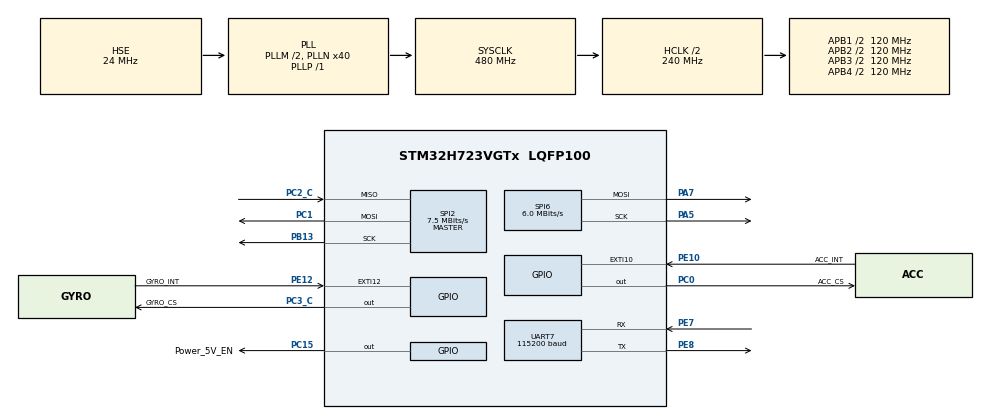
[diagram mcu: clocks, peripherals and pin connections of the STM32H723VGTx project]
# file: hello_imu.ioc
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CORTEX_M7.default_mode_Activation=1
Dma.Request0=SPI2_RX
Dma.Request1=SPI2_TX
Dma.SPI2_RX.0.Direction=DMA_PERIPH_TO_MEMORY
Dma.SPI2_RX.0.EventEnable=DISABLE
Dma.SPI2_RX.0.FIFOMode=DMA_FIFOMODE_DISABLE
Dma.SPI2_RX.0.Instance=DMA1_Stream0
Dma.SPI2_RX.0.MemDataAlignment=DMA_MDATAALIGN_BYTE
Dma.SPI2_RX.0.MemInc=DMA_MINC_ENABLE
Dma.SPI2_RX.0.Mode=DMA_NORMAL
Dma.SPI2_RX.0.PeriphDataAlignment=DMA_PDATAALIGN_BYTE
Dma.SPI2_RX.0.PeriphInc=DMA_PINC_DISABLE
Dma.SPI2_RX.0.Polarity=HAL_DMAMUX_REQ_GEN_RISING
Dma.SPI2_RX.0.Priority=DMA_PRIORITY_VERY_HIGH
Dma.SPI2_RX.0.RequestNumber=1
Dma.SPI2_RX.0.SignalID=NONE
Dma.SPI2_RX.0.SyncEnable=DISABLE
Dma.SPI2_RX.0.SyncPolarity=HAL_DMAMUX_SYNC_NO_EVENT
Dma.SPI2_RX.0.SyncRequestNumber=1
Dma.SPI2_RX.0.SyncSignalID=NONE
Dma.SPI2_TX.1.Direction=DMA_MEMORY_TO_PERIPH
Dma.SPI2_TX.1.EventEnable=DISABLE
Dma.SPI2_TX.1.FIFOMode=DMA_FIFOMODE_DISABLE
Dma.SPI2_TX.1.Instance=DMA1_Stream1
Dma.SPI2_TX.1.MemDataAlignment=DMA_MDATAALIGN_BYTE
Dma.SPI2_TX.1.MemInc=DMA_MINC_ENABLE
Dma.SPI2_TX.1.Mode=DMA_NORMAL
Dma.SPI2_TX.1.PeriphDataAlignment=DMA_PDATAALIGN_BYTE
Dma.SPI2_TX.1.PeriphInc=DMA_PINC_DISABLE
Dma.SPI2_TX.1.Polarity=HAL_DMAMUX_REQ_GEN_RISING
Dma.SPI2_TX.1.Priority=DMA_PRIORITY_HIGH
Dma.SPI2_TX.1.RequestNumber=1
Dma.SPI2_TX.1.SignalID=NONE
Dma.SPI2_TX.1.SyncEnable=DISABLE
Dma.SPI2_TX.1.SyncPolarity=HAL_DMAMUX_SYNC_NO_EVENT
Dma.SPI2_TX.1.SyncRequestNumber=1
Dma.SPI2_TX.1.SyncSignalID=NONE
Mcu.Family=STM32H7
Mcu.Name=STM32H723VGTx
Mcu.Package=LQFP100
NVIC.DMA1_Stream0_IRQn=true\:0\:0\:false\:false\:true\:false\:true\:true
NVIC.DMA1_Stream1_IRQn=true\:0\:0\:false\:false\:true\:false\:true\:true
NVIC.PriorityGroup=NVIC_PRIORITYGROUP_4
NVIC.SPI2_IRQn=true\:0\:0\:false\:false\:true\:false\:true\:true
PA13(JTMS/SWDIO).Mode=Serial_Wire
PA13(JTMS/SWDIO).Signal=DEBUG_JTMS-SWDIO
PA14(JTCK/SWCLK).Mode=Serial_Wire
PA14(JTCK/SWCLK).Signal=DEBUG_JTCK-SWCLK
PA5.Mode=TX_Only_Simplex_Unidirect_Master
PA5.Signal=SPI6_SCK
PA7.GPIO_Speed=GPIO_SPEED_FREQ_VERY_HIGH
PA7.Mode=TX_Only_Simplex_Unidirect_Master
PA7.Signal=SPI6_MOSI
PB13.Mode=Full_Duplex_Master
PB13.Signal=SPI2_SCK
PC0.GPIO_Label=ACC_CS
PC0.GPIO_Speed=GPIO_SPEED_FREQ_VERY_HIGH
PC0.PinState=GPIO_PIN_SET
PC0.Signal=GPIO_Output
PC1.Mode=Full_Duplex_Master
PC1.Signal=SPI2_MOSI
PC15-OSC32_OUT.GPIO_Label=Power_5V_EN
PC15-OSC32_OUT.PinState=GPIO_PIN_RESET
PC15-OSC32_OUT.Signal=GPIO_Output
PC2_C.Mode=Full_Duplex_Master
PC2_C.Signal=SPI2_MISO
PC3_C.GPIO_Label=GYRO_CS
PC3_C.GPIO_Speed=GPIO_SPEED_FREQ_VERY_HIGH
PC3_C.PinState=GPIO_PIN_SET
PC3_C.Signal=GPIO_Output
PE10.GPIO_Label=ACC_INT
PE10.Signal=GPXTI10
PE12.GPIO_Label=GYRO_INT
PE12.Signal=GPXTI12
PE7.Mode=Asynchronous
PE7.Signal=UART7_RX
PE8.Mode=Asynchronous
PE8.Signal=UART7_TX
PH0-OSC_IN.Mode=HSE-External-Oscillator
PH0-OSC_IN.Signal=RCC_OSC_IN
PH1-OSC_OUT.Mode=HSE-External-Oscillator
PH1-OSC_OUT.Signal=RCC_OSC_OUT
ProjectManager.HeapSize=0x200
ProjectManager.StackSize=0x400
ProjectManager.TargetToolchain=CMake
RCC.ADCFreq_Value=48375000
RCC.APB1Freq_Value=120000000
RCC.APB2Freq_Value=120000000
RCC.APB3Freq_Value=120000000
RCC.APB4Freq_Value=120000000
RCC.CortexFreq_Value=480000000
RCC.D1PPRE=RCC_APB3_DIV2
RCC.D2PPRE1=RCC_APB1_DIV2
RCC.D2PPRE2=RCC_APB2_DIV2
RCC.D3PPRE=RCC_APB4_DIV2
RCC.DIVM1=2
RCC.DIVN1=40
RCC.DIVP1=1
RCC.HCLKFreq_Value=240000000
RCC.HPRE=RCC_HCLK_DIV2
RCC.HSE_VALUE=24000000
RCC.PLLSourceVirtual=RCC_PLLSOURCE_HSE
RCC.SPI6CLockSelection=RCC_SPI6CLKSOURCE_HSE
RCC.SYSCLKFreq_VALUE=480000000
RCC.SYSCLKSource=RCC_SYSCLKSOURCE_PLLCLK
RCC.USBFreq_Value=240000000
SPI2.BaudRatePrescaler=SPI_BAUDRATEPRESCALER_32
SPI2.CLKPhase=SPI_PHASE_2EDGE
SPI2.CLKPolarity=SPI_POLARITY_HIGH
SPI2.CalculateBaudRate=7.5 MBits/s
SPI2.DataSize=SPI_DATASIZE_8BIT
SPI2.Direction=SPI_DIRECTION_2LINES
SPI2.Mode=SPI_MODE_MASTER
SPI2.VirtualType=VM_MASTER
SPI6.BaudRatePrescaler=SPI_BAUDRATEPRESCALER_4
SPI6.CLKPhase=SPI_PHASE_2EDGE
SPI6.CLKPolarity=SPI_POLARITY_LOW
SPI6.CalculateBaudRate=6.0 MBits/s
SPI6.DataSize=SPI_DATASIZE_8BIT
SPI6.Direction=SPI_DIRECTION_2LINES_TXONLY
SPI6.Mode=SPI_MODE_MASTER
SPI6.VirtualType=VM_MASTER
UART7.BaudRate=115200
VP_MEMORYMAP_VS_MEMORYMAP.Mode=CurAppReg
board=custom

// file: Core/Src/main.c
/* USER CODE BEGIN Header */
/**
  ******************************************************************************
  * @file           : main.c
  * @brief          : Main program body
  ******************************************************************************
  * @attention
  *
  * Copyright (c) 2026 STMicroelectronics.
  * All rights reserved.
  *
  * This software is licensed under terms that can be found in the LICENSE file
  * in the root directory of this software component.
  * If no LICENSE file comes with this software, it is provided AS-IS.
  *
  ******************************************************************************
  */
/* USER CODE END Header */
#include "main.h"
#include "dma.h"
#include "spi.h"
#include "usart.h"
#include "gpio.h"

/* USER CODE BEGIN Includes */
#include "BMI088driver.h"
#include "ws2812.h"
#include <stdio.h>
/* USER CODE END Includes */

/* USER CODE BEGIN PD */

/* 板载 WS2812 指示灯亮度(0-255)：满亮度很刺眼，这里用中等亮度 */
#define LED_BRIGHTNESS            64U

/* 使能可控 5V 之后，等 5V 轨稳定再和 BMI088 通信。
   BMI088 数据手册要求 VDD 有效后加速度计 ~1ms、陀螺仪 ~30ms 才能访问，
   5V 轨上的滤波电容充电还需要更多时间，这里统一留 100ms。 */
#define POWER_5V_RAMP_UP_MS       100U

/* BMI088 初始化失败后的重试间隔，以及最多向串口报告多少次错误码 */
#define BMI088_INIT_RETRY_MS      200U
#define BMI088_INIT_LOG_ATTEMPTS  10U

/* 上位机(https://imu.steppeschool.com/)要求的是二进制包，固定 20 字节：
   2 字节同步头 0xAA 0xFF，后面 9 个 int16(小端)——
   加速度 xyz、陀螺 xyz、磁力 xyz。本板没有磁力计，磁力 3 轴固定填 0。
   同步头之前的字节(比如下面的初始化错误文本)上位机会直接丢掉，不用特意清空。 */
#define BMI088_PACKET_SYNC1       0xAAU
#define BMI088_PACKET_SYNC2       0xFFU
#define BMI088_PACKET_SIZE        20U

/* USER CODE END PD */

void SystemClock_Config(void);
static void MPU_Config(void);
/* USER CODE BEGIN PFP */
static void packet_put_int16(uint8_t *dst, int16_t value);

/* USER CODE END PFP */

/* USER CODE BEGIN 0 */
int16_t gyro_raw[3], accel_raw[3], temp_raw;

static void packet_put_int16(uint8_t *dst, int16_t value)
{
  dst[0] = (uint8_t)(value & 0xFF);
  dst[1] = (uint8_t)((value >> 8) & 0xFF);
}
/* USER CODE END 0 */

int main(void)
{

  /* MPU Configuration--------------------------------------------------------*/
  MPU_Config();

  /* MCU Configuration--------------------------------------------------------*/

  /* Reset of all peripherals, Initializes the Flash interface and the Systick. */
  HAL_Init();

  /* Configure the system clock */
  SystemClock_Config();

  /* Initialize all configured peripherals */
  MX_GPIO_Init();
  MX_DMA_Init();
  MX_UART7_Init();
  MX_SPI2_Init();
  MX_SPI6_Init();
  /* USER CODE BEGIN 2 */

  uint8_t bmi_packet[BMI088_PACKET_SIZE];
  char bmi_error_buffer[64];

  /* 使能可控 5V：板载 WS2812 和 BMI088 都由这一路供电，上电默认是关的 */
  HAL_GPIO_WritePin(Power_5V_EN_GPIO_Port, Power_5V_EN_Pin, GPIO_PIN_SET);

  /* 等 5V 轨爬升稳定后再和传感器通信 */
  HAL_Delay(POWER_5V_RAMP_UP_MS);

  /* 5V 有了再发一帧全灭：MCU 单独复位时灯珠会保留上一次的颜色 */
  WS2812_Ctrl(0U, 0U, 0U);

  /* 等待 BMI088 就绪：红灯 = 还没成功(会一直重试)，绿灯 = 初始化成功 */
  uint8_t bmi_error;
  uint32_t bmi_attempt = 0U;

  while ((bmi_error = BMI088_init()) != BMI088_NO_ERROR)
  {
    WS2812_Ctrl(LED_BRIGHTNESS, 0U, 0U);

    /* 只报告前几次，避免传感器一直没响应时刷屏。
       这些是 ASCII 文本，上位机在同步头 0xAA 0xFF 之前会整段丢掉，不影响后面的二进制包。 */
    if (bmi_attempt < BMI088_INIT_LOG_ATTEMPTS)
    {
      int bmi_error_length = snprintf(bmi_error_buffer, sizeof(bmi_error_buffer),
                                      "BMI088 init failed, error=0x%02X, attempt=%lu\r\n",
                                      (unsigned int)bmi_error, (unsigned long)(bmi_attempt + 1U));

      if (bmi_error_length > 0 && bmi_error_length < (int)sizeof(bmi_error_buffer))
      {
        (void)HAL_UART_Transmit(&huart7, (uint8_t *)bmi_error_buffer,
                                (uint16_t)bmi_error_length, HAL_MAX_DELAY);
      }
    }

    bmi_attempt++;
    HAL_Delay(BMI088_INIT_RETRY_MS);
  }

  WS2812_Ctrl(0U, LED_BRIGHTNESS, 0U);
  /* USER CODE END 2 */

  /* Infinite loop */
  while (1)
  {

    /* USER CODE BEGIN 3 */
    BMI088_read_raw(accel_raw, gyro_raw, &temp_raw);

    /* 20 字节包：同步头 + 加速度 + 陀螺 + 磁力(本板没有，填 0)
       本板 BMI088 的贴装和网页参考板不同，这里对传感器数据做了一次轴向映射：
       X = -传感器 Y、Y = 传感器 X、Z 不变(加速度和陀螺用同一套映射)；
       网页本身还会对 ax/gy/gz 取反。如果 3D 模型的转向还是不对，
       就继续调这里 6 个分量的符号/顺序。 */
    bmi_packet[0] = BMI088_PACKET_SYNC1;
    bmi_packet[1] = BMI088_PACKET_SYNC2;
    packet_put_int16(&bmi_packet[2], (int16_t)(-accel_raw[1]));
    packet_put_int16(&bmi_packet[4], accel_raw[0]);
    packet_put_int16(&bmi_packet[6], accel_raw[2]);
    packet_put_int16(&bmi_packet[8], (int16_t)(-gyro_raw[1]));
    packet_put_int16(&bmi_packet[10], gyro_raw[0]);
    packet_put_int16(&bmi_packet[12], gyro_raw[2]);
    packet_put_int16(&bmi_packet[14], 0);
    packet_put_int16(&bmi_packet[16], 0);
    packet_put_int16(&bmi_packet[18], 0);

    if (HAL_UART_Transmit(&huart7, bmi_packet, BMI088_PACKET_SIZE, HAL_MAX_DELAY) != HAL_OK)
    {
      Error_Handler();
    }

    HAL_Delay(10);

  }
  /* USER CODE END 3 */
}

void SystemClock_Config(void)
{
  RCC_OscInitTypeDef RCC_OscInitStruct = {0};
  RCC_ClkInitTypeDef RCC_ClkInitStruct = {0};

  /** Supply configuration update enable
  */
  HAL_PWREx_ConfigSupply(PWR_LDO_SUPPLY);

  /** Configure the main internal regulator output voltage
  */
  __HAL_PWR_VOLTAGESCALING_CONFIG(PWR_REGULATOR_VOLTAGE_SCALE0);

  while(!__HAL_PWR_GET_FLAG(PWR_FLAG_VOSRDY)) {}

  /** Initializes the RCC Oscillators according to the specified parameters
  * in the RCC_OscInitTypeDef structure.
  */
  RCC_OscInitStruct.OscillatorType = RCC_OSCILLATORTYPE_HSE;
  RCC_OscInitStruct.HSEState = RCC_HSE_ON;
  RCC_OscInitStruct.PLL.PLLState = RCC_PLL_ON;
  RCC_OscInitStruct.PLL.PLLSource = RCC_PLLSOURCE_HSE;
  RCC_OscInitStruct.PLL.PLLM = 2;
  RCC_OscInitStruct.PLL.PLLN = 40;
  RCC_OscInitStruct.PLL.PLLP = 1;
  RCC_OscInitStruct.PLL.PLLQ = 2;
  RCC_OscInitStruct.PLL.PLLR = 2;
  RCC_OscInitStruct.PLL.PLLRGE = RCC_PLL1VCIRANGE_3;
  RCC_OscInitStruct.PLL.PLLVCOSEL = RCC_PLL1VCOWIDE;
  RCC_OscInitStruct.PLL.PLLFRACN = 0;
  if (HAL_RCC_OscConfig(&RCC_OscInitStruct) != HAL_OK)
  {
    Error_Handler();
  }

  /** Initializes the CPU, AHB and APB buses clocks
  */
  RCC_ClkInitStruct.ClockType = RCC_CLOCKTYPE_HCLK|RCC_CLOCKTYPE_SYSCLK
                              |RCC_CLOCKTYPE_PCLK1|RCC_CLOCKTYPE_PCLK2
                              |RCC_CLOCKTYPE_D3PCLK1|RCC_CLOCKTYPE_D1PCLK1;
  RCC_ClkInitStruct.SYSCLKSource = RCC_SYSCLKSOURCE_PLLCLK;
  RCC_ClkInitStruct.SYSCLKDivider = RCC_SYSCLK_DIV1;
  RCC_ClkInitStruct.AHBCLKDivider = RCC_HCLK_DIV2;
  RCC_ClkInitStruct.APB3CLKDivider = RCC_APB3_DIV2;
  RCC_ClkInitStruct.APB1CLKDivider = RCC_APB1_DIV2;
  RCC_ClkInitStruct.APB2CLKDivider = RCC_APB2_DIV2;
  RCC_ClkInitStruct.APB4CLKDivider = RCC_APB4_DIV2;

  if (HAL_RCC_ClockConfig(&RCC_ClkInitStruct, FLASH_LATENCY_3) != HAL_OK)
  {
    Error_Handler();
  }
}

 /* MPU Configuration */

void MPU_Config(void)
{
  MPU_Region_InitTypeDef MPU_InitStruct = {0};

  /* Disables the MPU */
  HAL_MPU_Disable();

  /** Initializes and configures the Region and the memory to be protected
  */
  MPU_InitStruct.Enable = MPU_REGION_ENABLE;
  MPU_InitStruct.Number = MPU_REGION_NUMBER0;
  MPU_InitStruct.BaseAddress = 0x0;
  MPU_InitStruct.Size = MPU_REGION_SIZE_4GB;
  MPU_InitStruct.SubRegionDisable = 0x87;
  MPU_InitStruct.TypeExtField = MPU_TEX_LEVEL0;
  MPU_InitStruct.AccessPermission = MPU_REGION_NO_ACCESS;
  MPU_InitStruct.DisableExec = MPU_INSTRUCTION_ACCESS_DISABLE;
  MPU_InitStruct.IsShareable = MPU_ACCESS_SHAREABLE;
  MPU_InitStruct.IsCacheable = MPU_ACCESS_NOT_CACHEABLE;
  MPU_InitStruct.IsBufferable = MPU_ACCESS_NOT_BUFFERABLE;

  HAL_MPU_ConfigRegion(&MPU_InitStruct);
  /* Enables the MPU */
  HAL_MPU_Enable(MPU_PRIVILEGED_DEFAULT);

}

void Error_Handler(void)
{
  __disable_irq();
  while (1)
  {
  }
}
